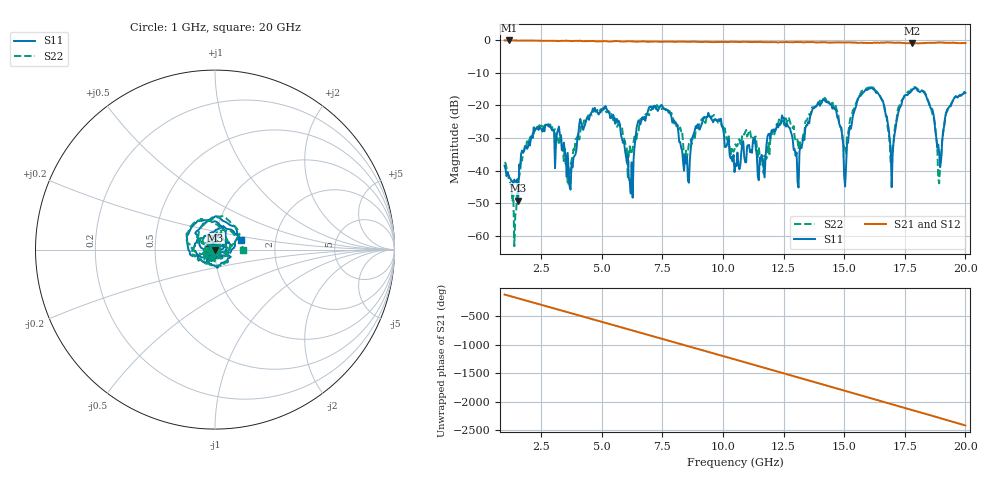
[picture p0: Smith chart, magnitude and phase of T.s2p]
!Agilent Technologies,E8361C,US49010278,A.09.20.08
!Agilent E8361C: A.09.20.08
!Date: Tuesday, December 15, 2015 15:53:14
!Correction: S11(Full 2 Port(1,2))
!S21(Full 2 Port(1,2))
!S12(Full 2 Port(1,2))
!S22(Full 2 Port(1,2))
!S2P File: Measurements: S11, S21, S12, S22:
# Hz S  RI  R 50
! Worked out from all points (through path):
!   476 points, 1 GHz to 20 GHz, reference 50 ohm
!   highest |S21| = -0.08 dB at 1.2 GHz (marker M1); lowest = -1.0 dB at 17.8 GHz (marker M2)
!   group delay of S21, straight-line fit = 336 ps
!   lowest |S11| = -49.2 dB at 1.56 GHz (marker M3), VSWR 1.01, Z = 50.3 - j0.226 ohm
!   |S11| at or under -10 dB: start of sweep to end of sweep
!   |S22| runs from -63.2 to -14.3 dB; largest |S21 - S12| = 0.01
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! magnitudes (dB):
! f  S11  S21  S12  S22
! 1 GHz  -38.5  -0.1  -0.1  -37.4
! 1.2 GHz  -42.1  -0.1  -0.1  -42.7
! 1.56 GHz  -49.2  -0.1  -0.1  -43.2
! 2.76 GHz  -25.9  -0.2  -0.2  -26.0
! 3.72 GHz  -45.8  -0.2  -0.2  -38.7
! 4.2 GHz  -26.2  -0.3  -0.2  -25.5
! 5.68 GHz  -25.1  -0.3  -0.3  -25.7
! 6.2 GHz  -47.0  -0.3  -0.3  -35.0
! 6.52 GHz  -24.6  -0.4  -0.4  -28.2
! 7.36 GHz  -20.9  -0.5  -0.4  -20.8
! 8.56 GHz  -43.1  -0.5  -0.5  -34.1
! 9.4 GHz  -22.2  -0.5  -0.5  -24.1
! 10.52 GHz  -37.9  -0.5  -0.5  -31.9
! 12.44 GHz  -23.1  -0.6  -0.6  -24.6
! 13.08 GHz  -43.6  -0.6  -0.6  -30.7
! 13.68 GHz  -21.5  -0.6  -0.6  -20.6
! 15.08 GHz  -38.6  -0.7  -0.7  -35.0
! 16.16 GHz  -14.5  -0.9  -0.8  -14.9
! 16.84 GHz  -27.2  -0.7  -0.6  -28.6
! 17.8 GHz  -15.4  -1.0  -0.9  -14.8
! 18.92 GHz  -34.8  -0.7  -0.7  -43.9
! 20 GHz  -16.2  -0.9  -0.9  -16.1
